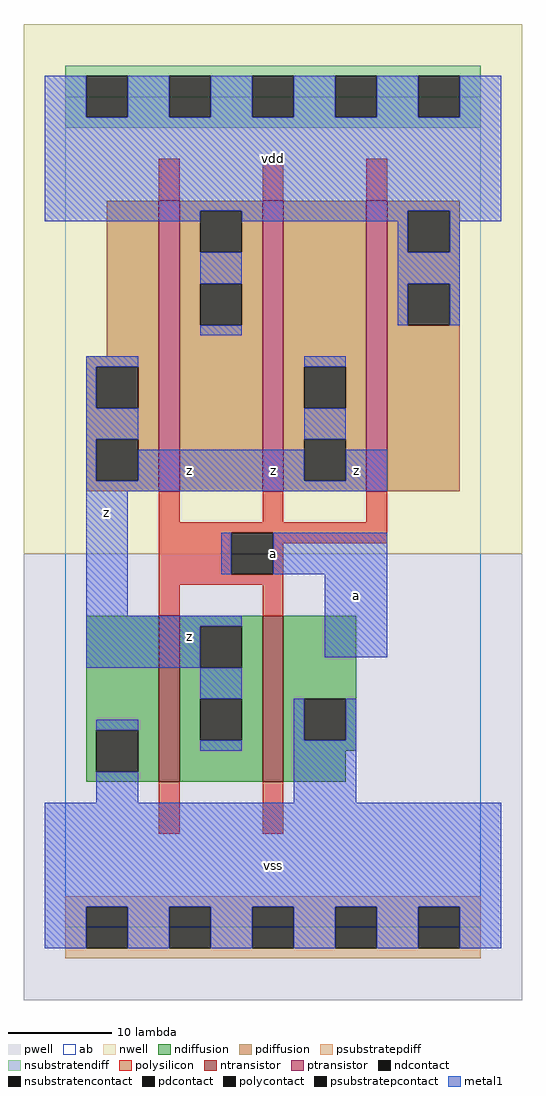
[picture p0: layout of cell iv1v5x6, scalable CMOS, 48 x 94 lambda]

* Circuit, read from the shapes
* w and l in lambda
.subckt iv1v5x6 a vdd vss z
M1 z a vss vss nfet w=16 l=2 m=2
M2 vdd a z vdd pfet w=28 l=2 m=3
.ends

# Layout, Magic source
magic
tech scmos
<< ab >>
rect 0 0 40 80
<< pwell >>
rect -4 -7 44 36
<< nwell >>
rect -4 36 44 87
<< polysilicon >>
rect 9 70 11 74
rect 19 70 21 74
rect 29 70 31 74
rect 9 39 11 42
rect 19 39 21 42
rect 29 39 31 42
rect 9 38 31 39
rect 9 34 16 38
rect 20 37 31 38
rect 20 34 21 37
rect 9 33 21 34
rect 9 30 11 33
rect 19 30 21 33
rect 9 9 11 14
rect 19 9 21 14
<< ndiffusion >>
rect 2 19 9 30
rect 2 15 3 19
rect 7 15 9 19
rect 2 14 9 15
rect 11 29 19 30
rect 11 25 13 29
rect 17 25 19 29
rect 11 22 19 25
rect 11 18 13 22
rect 17 18 19 22
rect 11 14 19 18
rect 21 22 28 30
rect 21 18 23 22
rect 27 18 28 22
rect 21 17 28 18
rect 21 14 27 17
<< pdiffusion >>
rect 4 55 9 70
rect 2 54 9 55
rect 2 50 3 54
rect 7 50 9 54
rect 2 47 9 50
rect 2 43 3 47
rect 7 43 9 47
rect 2 42 9 43
rect 11 69 19 70
rect 11 65 13 69
rect 17 65 19 69
rect 11 62 19 65
rect 11 58 13 62
rect 17 58 19 62
rect 11 42 19 58
rect 21 54 29 70
rect 21 50 23 54
rect 27 50 29 54
rect 21 47 29 50
rect 21 43 23 47
rect 27 43 29 47
rect 21 42 29 43
rect 31 69 38 70
rect 31 65 33 69
rect 37 65 38 69
rect 31 62 38 65
rect 31 58 33 62
rect 37 58 38 62
rect 31 42 38 58
<< metal1 >>
rect -2 78 2 82
rect 6 78 10 82
rect 14 78 18 82
rect 22 78 26 82
rect 30 78 34 82
rect 38 78 42 82
rect -2 69 42 78
rect -2 68 13 69
rect 17 68 33 69
rect 13 62 17 65
rect 32 65 33 68
rect 37 68 42 69
rect 37 65 38 68
rect 32 62 38 65
rect 32 58 33 62
rect 37 58 38 62
rect 13 57 17 58
rect 2 54 7 55
rect 2 50 3 54
rect 2 47 7 50
rect 2 43 3 47
rect 23 54 27 55
rect 23 47 27 50
rect 7 43 23 46
rect 27 43 31 46
rect 2 42 31 43
rect 2 30 6 42
rect 15 34 16 38
rect 20 34 31 38
rect 2 29 17 30
rect 2 25 13 29
rect 25 26 31 34
rect 13 22 17 25
rect 3 19 7 20
rect 13 17 17 18
rect 22 18 23 22
rect 27 18 28 22
rect 3 12 7 15
rect 22 12 28 18
rect -2 2 42 12
rect -2 -2 2 2
rect 6 -2 10 2
rect 14 -2 18 2
rect 22 -2 26 2
rect 30 -2 34 2
rect 38 -2 42 2
<< ntransistor >>
rect 9 14 11 30
rect 19 14 21 30
<< ptransistor >>
rect 9 42 11 70
rect 19 42 21 70
rect 29 42 31 70
<< polycontact >>
rect 16 34 20 38
<< ndcontact >>
rect 3 15 7 19
rect 13 25 17 29
rect 13 18 17 22
rect 23 18 27 22
<< pdcontact >>
rect 3 50 7 54
rect 3 43 7 47
rect 13 65 17 69
rect 13 58 17 62
rect 23 50 27 54
rect 23 43 27 47
rect 33 65 37 69
rect 33 58 37 62
<< psubstratepcontact >>
rect 2 -2 6 2
rect 10 -2 14 2
rect 18 -2 22 2
rect 26 -2 30 2
rect 34 -2 38 2
<< nsubstratencontact >>
rect 2 78 6 82
rect 10 78 14 82
rect 18 78 22 82
rect 26 78 30 82
rect 34 78 38 82
<< psubstratepdiff >>
rect 0 2 40 3
rect 0 -2 2 2
rect 6 -2 10 2
rect 14 -2 18 2
rect 22 -2 26 2
rect 30 -2 34 2
rect 38 -2 40 2
rect 0 -3 40 -2
<< nsubstratendiff >>
rect 0 82 40 83
rect 0 78 2 82
rect 6 78 10 82
rect 14 78 18 82
rect 22 78 26 82
rect 30 78 34 82
rect 38 78 40 82
rect 0 77 40 78
<< labels >>
rlabel metal1 4 40 4 40 6 z
rlabel metal1 12 28 12 28 6 z
rlabel metal1 12 44 12 44 6 z
rlabel metal1 20 6 20 6 6 vss
rlabel metal1 20 36 20 36 6 a
rlabel metal1 28 32 28 32 6 a
rlabel metal1 28 44 28 44 6 z
rlabel metal1 20 44 20 44 6 z
rlabel metal1 20 74 20 74 6 vdd
<< end >>
